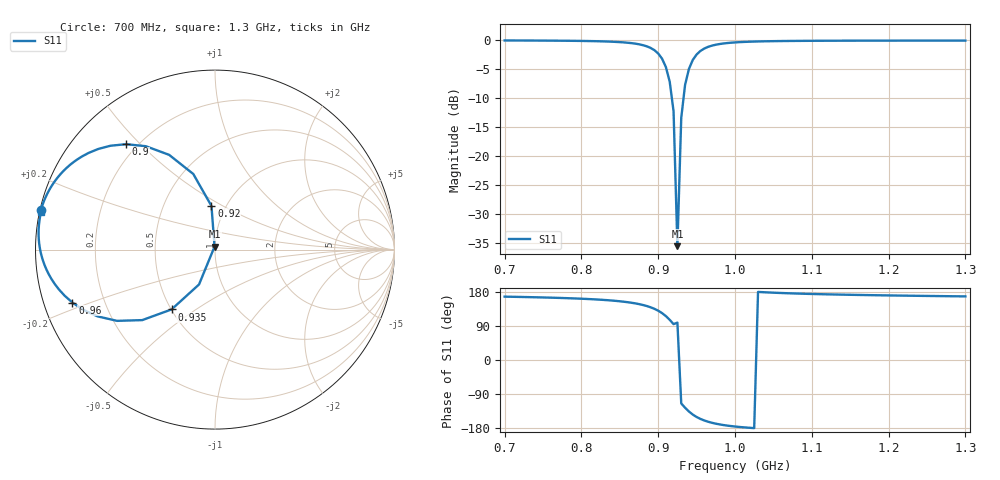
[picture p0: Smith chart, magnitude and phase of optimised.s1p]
! EMerge Printed Shorted-Patch PIFA - Optimised for AU915 (915-928 MHz)
! patch_length=34.42mm, patch_width=26.00mm, short_span=12.00mm, feed_offset=7.00mm
# MHZ S RI R 50.0
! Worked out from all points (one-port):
!   121 points, 700 MHz to 1.3 GHz, reference 50 ohm
!   lowest |S11| = -35.6 dB at 925 MHz (marker M1), VSWR 1.03, Z = 49.7 + j1.64 ohm
!   |S11| at or under -10 dB: 917.8 MHz to 933 MHz (15.21 MHz wide, 1.64 % of centre)
!   S11 on the Smith chart (normalised r, x): 700 MHz: 0.00, +0.11; 900 MHz: 0.16, +0.46; 920 MHz: 0.86, +0.44; 935 MHz: 0.50, -0.40; 960 MHz: 0.09, -0.18; 1.3 GHz: 0.00, +0.11
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700  -0.97 0.2207
775  -0.9492 0.2794
820  -0.9189 0.3402
850  -0.8721 0.4073
865  -0.8264 0.4557
880  -0.7446 0.5169
890  -0.6497 0.5609
900  -0.4945 0.5873
905  -0.3852 0.576
910  -0.2554 0.5279
915  -0.1208 0.4211
920  -0.0196 0.2429
925  -0.00252 0.0165
930  -0.089 -0.1942
935  -0.2419 -0.3332
940  -0.4054 -0.3928
945  -0.5456 -0.397
950  -0.6543 -0.372
955  -0.7349 -0.3351
960  -0.794 -0.2954
965  -0.8375 -0.257
975  -0.8942 -0.1897
1000  -0.9539 -0.0744
1030  -0.9752 0.00517
1075  -0.9826 0.0733
1150  -0.9809 0.1367
1225  -0.9757 0.1772
1300  -0.9696 0.2085
